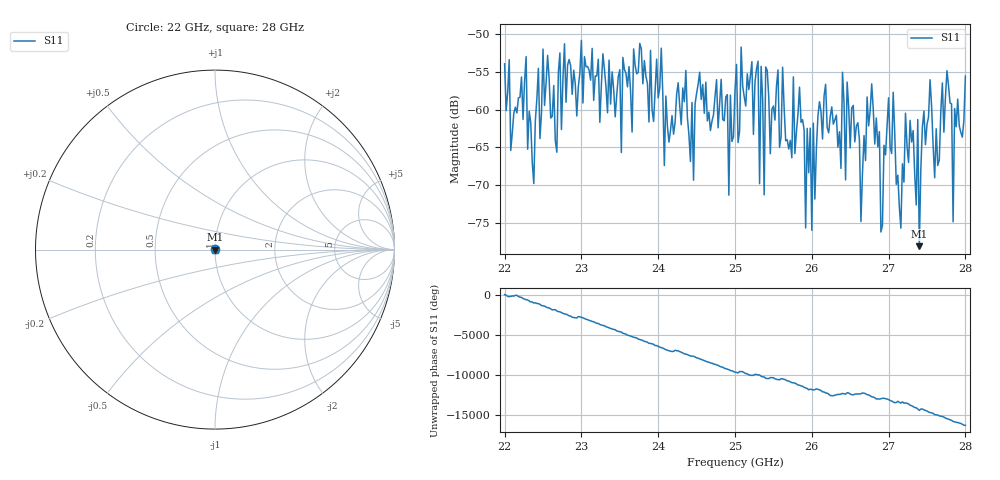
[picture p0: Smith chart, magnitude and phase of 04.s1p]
#  HZ  S  RI  R  50.00
! Rohde & Schwarz ZVA40 4Ports - Version 3.90 - 1145.1110k42 SN: 100403
! Date: 2023-10-04 09:37:14
! Measurement: S12
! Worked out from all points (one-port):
!   301 points, 22 GHz to 28 GHz, reference 50 ohm
!   lowest |S11| = -78.1 dB at 27.4 GHz (marker M1), VSWR 1.00, Z = 50 + j0.00534 ohm
!   |S11| at or under -10 dB: start of sweep to end of sweep
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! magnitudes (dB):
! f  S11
! 22 GHz  -54.0
! 22.28 GHz  -53.0
! 22.38 GHz  -69.8
! 22.5 GHz  -52.0
! 22.76 GHz  -55.8
! 23.5 GHz  -54.7
! 24.26 GHz  -56.5
! 24.46 GHz  -69.3
! 24.82 GHz  -56.0
! 24.92 GHz  -71.3
! 25 GHz  -57.4
! 25.3 GHz  -53.6
! 25.32 GHz  -69.8
! 25.34 GHz  -54.3
! 25.38 GHz  -71.3
! 25.4 GHz  -54.4
! 25.76 GHz  -55.7
! 25.92 GHz  -75.6
! 26.18 GHz  -56.7
! 26.5 GHz  -65.1
! 27.26 GHz  -67.0
! 27.38 GHz  -61.3
! 27.4 GHz  -78.1
! 27.54 GHz  -56.1
! 27.6 GHz  -69.0
! 27.76 GHz  -54.9
! 27.84 GHz  -74.8
! 28 GHz  -55.6
